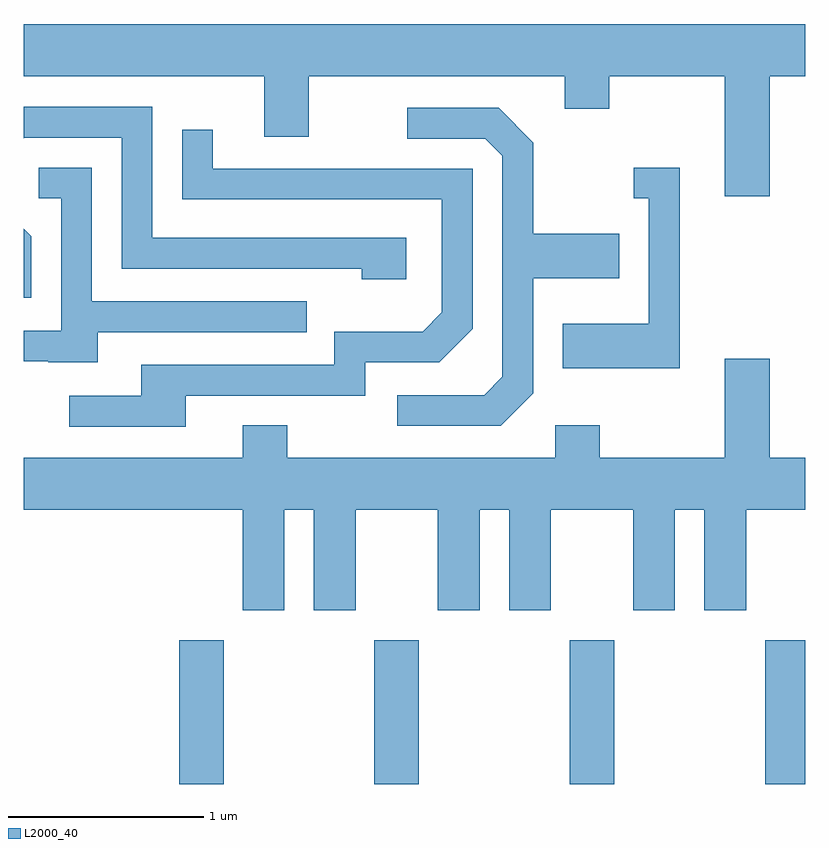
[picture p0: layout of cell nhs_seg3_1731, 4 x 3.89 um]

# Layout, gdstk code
import gdstk
lib = gdstk.Library(unit=1e-6, precision=1e-09)
def R(c, l, rs):  # rectangles x0, y0, x1, y1
    for r in rs: c.add(gdstk.rectangle(r[:2], r[2:], *l))
def A(c, l, x, y, w, h, nx, ny, dx, dy):  # array of equal rectangles
    R(c, l, [(x+i*dx, y+j*dy, x+i*dx+w, y+j*dy+h) for i in range(nx) for j in range(ny)])
def P(c, l, *ps):  # polygons
    for p in ps: c.add(gdstk.Polygon(p, *l))
L2000_40 = (2000, 40)

nhs_seg3_1731 = lib.new_cell('nhs_seg3_1731')
A(nhs_seg3_1731, L2000_40, 236.406, 1177.892, 0.228, 0.737, 3, 1, 1, 0)
R(nhs_seg3_1731, L2000_40, [(239.406,1177.892,239.611,1178.629)])
P(nhs_seg3_1731, L2000_40, [(239.429,1181.516),(239.611,1181.516),(239.611,1181.784),(235.611,1181.784),(235.611,1181.516),(236.841,1181.516),(236.841,1181.206),(237.069,1181.206),(237.069,1181.516),(238.381,1181.516),(238.381,1181.351),(238.609,1181.351),(238.609,1181.516),(239.201,1181.516),(239.201,1180.901),(239.429,1180.901)],
  [(237.569,1180.689),(236.269,1180.689),(236.269,1181.359),(235.611,1181.359),(235.611,1181.2),(235.612,1181.201),(236.111,1181.201),(236.111,1180.531),(237.341,1180.531),(237.341,1180.476),(237.569,1180.476)],
  [(238.219,1179.894),(238.219,1180.481),(238.659,1180.481),(238.659,1180.709),(238.219,1180.709),(238.219,1181.177),(238.042,1181.354),(237.573,1181.354),(237.573,1181.196),(237.974,1181.196),(238.061,1181.109),(238.061,1179.977),(237.969,1179.884),(237.523,1179.884),(237.523,1179.726),(238.052,1179.726)],
  [(236.439,1179.881),(237.359,1179.881),(237.359,1180.051),(237.737,1180.051),(237.909,1180.224),(237.909,1181.044),(236.579,1181.044),(236.579,1181.243),(236.421,1181.243),(236.421,1180.886),(237.751,1180.886),(237.751,1180.307),(237.654,1180.209),(237.201,1180.209),(237.201,1180.039),(236.211,1180.039),(236.211,1179.879),(235.843,1179.879),(235.843,1179.721),(236.439,1179.721)],
  [(235.989,1180.206),(237.058,1180.206),(237.058,1180.364),(235.959,1180.364),(235.959,1181.049),(235.688,1181.049),(235.688,1180.891),(235.801,1180.891),(235.801,1180.214),(235.611,1180.214),(235.611,1180.056),(235.735,1180.056),(235.735,1180.051),(235.989,1180.051)],
  [(238.969,1181.049),(238.733,1181.049),(238.733,1180.891),(238.811,1180.891),(238.811,1180.249),(238.371,1180.249),(238.371,1180.021),(238.969,1180.021)],
  [(235.649,1180.697),(235.611,1180.735),(235.611,1180.383),(235.649,1180.383)],
  [(236.944,1179.296),(237.096,1179.296),(237.096,1178.781),(237.309,1178.781),(237.309,1179.296),(237.731,1179.296),(237.731,1178.781),(237.944,1178.781),(237.944,1179.296),(238.096,1179.296),(238.096,1178.781),(238.309,1178.781),(238.309,1179.296),(238.731,1179.296),(238.731,1178.781),(238.944,1178.781),(238.944,1179.296),(239.096,1179.296),(239.096,1178.781),(239.309,1178.781),(239.309,1179.296),(239.611,1179.296),(239.611,1179.564),(239.429,1179.564),(239.429,1180.069),(239.201,1180.069),(239.201,1179.564),(238.559,1179.564),(238.559,1179.729),(238.331,1179.729),(238.331,1179.564),(236.959,1179.564),(236.959,1179.729),(236.731,1179.729),(236.731,1179.564),(235.611,1179.564),(235.611,1179.296),(236.731,1179.296),(236.731,1178.781),(236.944,1178.781)])

lib.write_gds('nhs_seg3_1731.gds')
